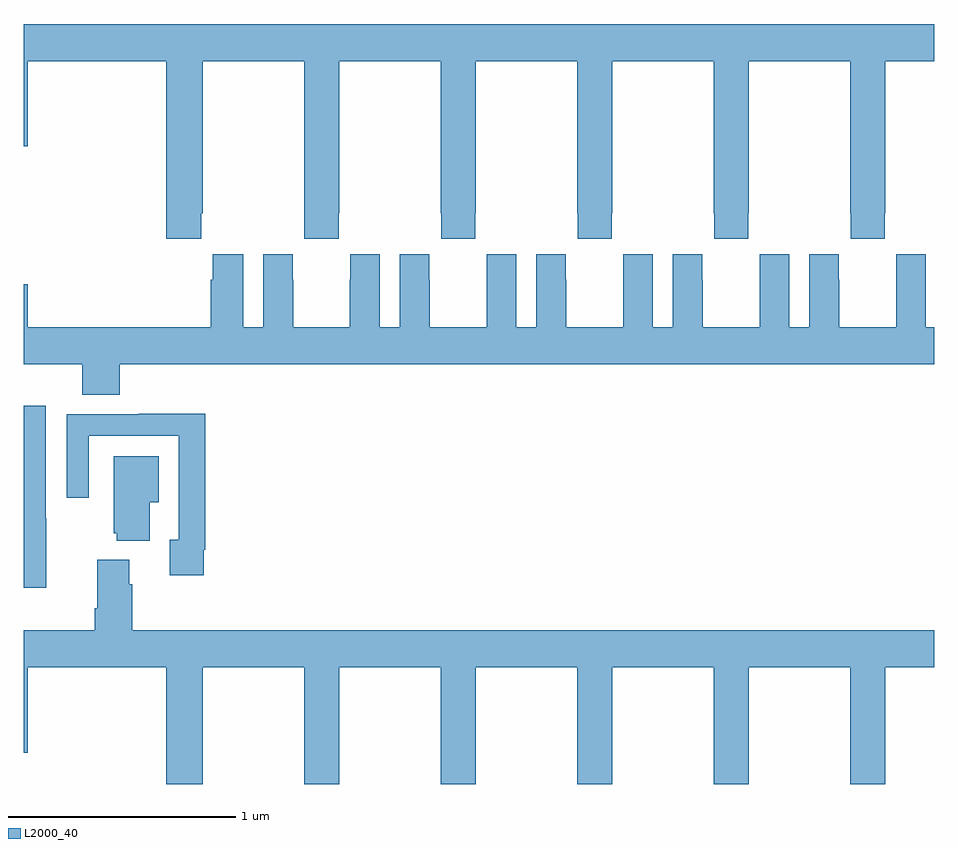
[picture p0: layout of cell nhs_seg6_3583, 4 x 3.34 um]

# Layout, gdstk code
import gdstk
lib = gdstk.Library(unit=1e-6, precision=1e-09)
def P(c, l, *ps):  # polygons
    for p in ps: c.add(gdstk.Polygon(p, *l))
L2000_40 = (2000, 40)

nhs_seg6_3583 = lib.new_cell('nhs_seg6_3583')
P(nhs_seg6_3583, L2000_40, [(321.779,940.009),(321.786,940.009),(321.786,940.676),(322.231,940.676),(322.231,940.009),(322.233,940.009),(322.233,939.897),(322.383,939.897),(322.383,940.009),(322.386,940.009),(322.386,940.676),(322.831,940.676),(322.831,940.009),(322.833,940.009),(322.833,939.897),(322.983,939.897),(322.983,940.009),(322.986,940.009),(322.986,940.676),(323.431,940.676),(323.431,940.009),(323.433,940.009),(323.433,939.897),(323.583,939.897),(323.583,940.009),(323.586,940.009),(323.586,940.676),(324.031,940.676),(324.031,940.009),(324.033,940.009),(324.033,939.897),(324.183,939.897),(324.183,940.009),(324.186,940.009),(324.186,940.676),(324.631,940.676),(324.631,940.009),(324.633,940.009),(324.633,939.897),(324.783,939.897),(324.783,940.009),(324.786,940.009),(324.786,940.676),(325,940.676),(325,940.84),(321,940.84),(321,940.302),(321.016,940.302),(321.016,940.676),(321.626,940.676),(321.626,939.897),(321.779,939.897)],
  [(325,939.508),(324.964,939.508),(324.964,939.829),(324.834,939.829),(324.834,939.716),(324.833,939.716),(324.833,939.508),(324.583,939.508),(324.583,939.716),(324.582,939.716),(324.582,939.829),(324.452,939.829),(324.452,939.508),(324.364,939.508),(324.364,939.829),(324.234,939.829),(324.234,939.716),(324.233,939.716),(324.233,939.508),(323.983,939.508),(323.983,939.716),(323.982,939.716),(323.982,939.829),(323.852,939.829),(323.852,939.508),(323.764,939.508),(323.764,939.829),(323.634,939.829),(323.634,939.716),(323.633,939.716),(323.633,939.508),(323.383,939.508),(323.383,939.716),(323.382,939.716),(323.382,939.829),(323.252,939.829),(323.252,939.508),(323.164,939.508),(323.164,939.829),(323.034,939.829),(323.034,939.716),(323.033,939.716),(323.033,939.508),(322.783,939.508),(322.783,939.716),(322.782,939.716),(322.782,939.829),(322.652,939.829),(322.652,939.508),(322.564,939.508),(322.564,939.829),(322.434,939.829),(322.434,939.716),(322.433,939.716),(322.433,939.508),(322.183,939.508),(322.183,939.716),(322.182,939.716),(322.182,939.829),(322.052,939.829),(322.052,939.508),(321.964,939.508),(321.964,939.829),(321.83,939.829),(321.83,939.716),(321.821,939.716),(321.821,939.508),(321.016,939.508),(321.016,939.697),(321,939.697),(321,939.344),(321.257,939.344),(321.257,939.211),(321.422,939.211),(321.422,939.344),(325,939.344)],
  [(321.099,938.669),(321.096,938.669),(321.096,939.163),(321,939.163),(321,938.363),(321.099,938.363)],
  [(321.79,938.53),(321.797,938.53),(321.797,939.128),(321.505,939.128),(321.505,939.126),(321.189,939.126),(321.189,938.757),(321.285,938.757),(321.285,939.03),(321.681,939.03),(321.681,938.574),(321.641,938.574),(321.641,938.418),(321.79,938.418)],
  [(321.553,938.738),(321.592,938.738),(321.592,938.941),(321.395,938.941),(321.395,938.601),(321.407,938.601),(321.407,938.57),(321.553,938.57)],
  [(321.476,938.378),(321.463,938.378),(321.463,938.485),(321.323,938.485),(321.323,938.272),(321.311,938.272),(321.311,938.176),(321,938.176),(321,937.638),(321.016,937.638),(321.016,938.012),(321.626,938.012),(321.626,937.5),(321.786,937.5),(321.786,938.012),(322.231,938.012),(322.231,937.5),(322.386,937.5),(322.386,938.012),(322.831,938.012),(322.831,937.5),(322.986,937.5),(322.986,938.012),(323.431,938.012),(323.431,937.5),(323.586,937.5),(323.586,938.012),(324.031,938.012),(324.031,937.5),(324.186,937.5),(324.186,938.012),(324.631,938.012),(324.631,937.5),(324.786,937.5),(324.786,938.012),(325,938.012),(325,938.176),(321.476,938.176)])

lib.write_gds('nhs_seg6_3583.gds')
